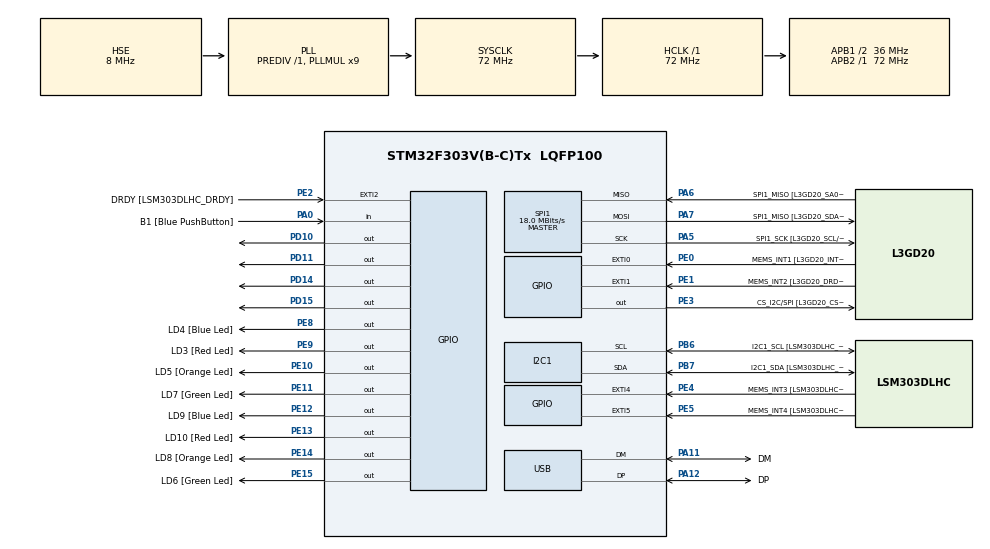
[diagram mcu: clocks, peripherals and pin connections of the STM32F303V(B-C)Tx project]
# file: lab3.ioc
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I2C1.Timing-I2C=0x2000090E
Mcu.Family=STM32F3
Mcu.Name=STM32F303V(B-C)Tx
Mcu.Package=LQFP100
NVIC.PriorityGroup=NVIC_PRIORITYGROUP_0
PA0.GPIO_Label=B1 [Blue PushButton]
PA0.Signal=GPIO_Input
PA11.GPIO_Label=DM
PA11.Mode=Device
PA11.Signal=USB_DM
PA12.GPIO_Label=DP
PA12.Mode=Device
PA12.Signal=USB_DP
PA13.GPIO_Label=SWDIO
PA13.Mode=Serial_Wire
PA13.Signal=SYS_JTMS-SWDIO
PA14.GPIO_Label=SWCLK
PA14.Mode=Serial_Wire
PA14.Signal=SYS_JTCK-SWCLK
PA5.GPIO_Label=SPI1_SCK [L3GD20_SCL/SPC]
PA5.Mode=Full_Duplex_Master
PA5.Signal=SPI1_SCK
PA6.GPIO_Label=SPI1_MISO [L3GD20_SA0/SDO]
PA6.Mode=Full_Duplex_Master
PA6.Signal=SPI1_MISO
PA7.GPIO_Label=SPI1_MISO [L3GD20_SDA/SDI/SDO]
PA7.Mode=Full_Duplex_Master
PA7.Signal=SPI1_MOSI
PB3.GPIO_Label=SWO
PB3.Signal=SYS_JTDO-TRACESWO
PB6.GPIO_Label=I2C1_SCL [LSM303DLHC_SCL]
PB6.GPIO_Pu=GPIO_PULLUP
PB6.Mode=I2C
PB6.Signal=I2C1_SCL
PB7.GPIO_Label=I2C1_SDA [LSM303DLHC_SDA]
PB7.GPIO_Pu=GPIO_PULLUP
PB7.Mode=I2C
PB7.Signal=I2C1_SDA
PC14-OSC32_IN.GPIO_Label=OSC32_IN
PC14-OSC32_IN.Signal=RCC_OSC32_IN
PC15-OSC32_OUT.GPIO_Label=OSC32_OUT
PC15-OSC32_OUT.Signal=RCC_OSC32_OUT
PD10.Signal=GPIO_Output
PD11.Signal=GPIO_Output
PD14.Signal=GPIO_Output
PD15.Signal=GPIO_Output
PE0.GPIO_Label=MEMS_INT1 [L3GD20_INT1]
PE0.GPIO_ModeDefaultEXTI=GPIO_MODE_EVT_RISING
PE0.Signal=GPXTI0
PE1.GPIO_Label=MEMS_INT2 [L3GD20_DRDY/INT2]
PE1.GPIO_ModeDefaultEXTI=GPIO_MODE_EVT_RISING
PE1.Signal=GPXTI1
PE10.GPIO_Label=LD5 [Orange Led]
PE10.Signal=GPIO_Output
PE11.GPIO_Label=LD7 [Green Led]
PE11.Signal=GPIO_Output
PE12.GPIO_Label=LD9 [Blue Led]
PE12.Signal=GPIO_Output
PE13.GPIO_Label=LD10 [Red Led]
PE13.Signal=GPIO_Output
PE14.GPIO_Label=LD8 [Orange Led]
PE14.Signal=GPIO_Output
PE15.GPIO_Label=LD6 [Green Led]
PE15.Signal=GPIO_Output
PE2.GPIO_Label=DRDY [LSM303DLHC_DRDY]
PE2.GPIO_ModeDefaultEXTI=GPIO_MODE_EVT_RISING
PE2.Signal=GPXTI2
PE3.GPIO_Label=CS_I2C/SPI [L3GD20_CS_I2C/SPI]
PE3.Signal=GPIO_Output
PE4.GPIO_Label=MEMS_INT3 [LSM303DLHC_INT1]
PE4.GPIO_ModeDefaultEXTI=GPIO_MODE_EVT_RISING
PE4.Signal=GPXTI4
PE5.GPIO_Label=MEMS_INT4 [LSM303DLHC_INT2]
PE5.GPIO_ModeDefaultEXTI=GPIO_MODE_EVT_RISING
PE5.Signal=GPXTI5
PE8.GPIO_Label=LD4 [Blue Led]
PE8.Signal=GPIO_Output
PE9.GPIO_Label=LD3 [Red Led]
PE9.Signal=GPIO_Output
PF0-OSC_IN.GPIO_Label=OSC_IN
PF0-OSC_IN.Mode=HSE-External-Oscillator
PF0-OSC_IN.Signal=RCC_OSC_IN
PF1-OSC_OUT.GPIO_Label=OSC_OUT
PF1-OSC_OUT.Mode=HSE-External-Oscillator
PF1-OSC_OUT.Signal=RCC_OSC_OUT
ProjectManager.HeapSize=0x200
ProjectManager.StackSize=0x400
ProjectManager.TargetToolchain=STM32CubeIDE
RCC.AHBFreq_Value=72000000
RCC.APB1CLKDivider=RCC_HCLK_DIV2
RCC.APB1Freq_Value=36000000
RCC.APB1TimFreq_Value=72000000
RCC.APB2Freq_Value=72000000
RCC.APB2TimFreq_Value=72000000
RCC.CortexFreq_Value=72000000
RCC.HCLKFreq_Value=72000000
RCC.HSE_VALUE=8000000
RCC.HSI_VALUE=8000000
RCC.LSE_VALUE=32768
RCC.PLLMUL=RCC_PLL_MUL9
RCC.PRESCALERUSB=RCC_USBCLKSOURCE_PLL_DIV1_5
RCC.SYSCLKFreq_VALUE=72000000
RCC.SYSCLKSourceVirtual=RCC_SYSCLKSOURCE_PLLCLK
RCC.USBFreq_Value=48000000
SPI1.BaudRatePrescaler=SPI_BAUDRATEPRESCALER_4
SPI1.BaudRatePrescaler-Full_Duplex_Master=SPI_BAUDRATEPRESCALER_2
SPI1.CalculateBaudRate=18.0 MBits/s
SPI1.CalculateBaudRate-Full_Duplex_Master=24.0 MBits/s
SPI1.Direction=SPI_DIRECTION_2LINES
SPI1.Mode=SPI_MODE_MASTER
SPI1.Mode-Full_Duplex_Master=SPI_MODE_MASTER
SPI1.VirtualType=VM_MASTER
TIM1.Prescaler=7200
VP_TIM1_VS_ClockSourceINT.Mode=Internal
board=STM32F3DISCOVERY

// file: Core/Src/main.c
/* USER CODE BEGIN Header */
/**
  ******************************************************************************
  * @file           : main.c
  * @brief          : Main program body
  ******************************************************************************
  * @attention
  *
  * Copyright (c) 2022 STMicroelectronics.
  * All rights reserved.
  *
  * This software is licensed under terms that can be found in the LICENSE file
  * in the root directory of this software component.
  * If no LICENSE file comes with this software, it is provided AS-IS.
  *
  ******************************************************************************
  */
/* USER CODE END Header */
#include "main.h"

I2C_HandleTypeDef hi2c1;

SPI_HandleTypeDef hspi1;

TIM_HandleTypeDef htim1;

PCD_HandleTypeDef hpcd_USB_FS;

/* USER CODE BEGIN PV */
int pos = 0;
/* USER CODE END PV */

void SystemClock_Config(void);
static void MX_GPIO_Init(void);
static void MX_I2C1_Init(void);
static void MX_SPI1_Init(void);
static void MX_USB_PCD_Init(void);
static void MX_TIM1_Init(void);
/* USER CODE BEGIN PFP */
void stepperfunc(int pos);
/* USER CODE END PFP */

/* USER CODE BEGIN 0 */
void stepperDelay(uint8_t time){
	uint8_t timer_value = __HAL_TIM_GET_COUNTER(&htim1);
	if (timer_value >= time/256){
		stepperfunc(pos);
		pos++;
		if (pos == 7){
			pos = 0;
		}
	}
}
void stepperfunc(int pos){
	  for (int i=0;i<8;i++){
			  switch (i){
			  	  case 0:
					HAL_GPIO_WritePin(GPIOD, GPIO_PIN_10, GPIO_PIN_SET);
					HAL_GPIO_WritePin(GPIOD, GPIO_PIN_11, GPIO_PIN_RESET);
					HAL_GPIO_WritePin(GPIOD, GPIO_PIN_15, GPIO_PIN_RESET);
					HAL_GPIO_WritePin(GPIOD, GPIO_PIN_14, GPIO_PIN_RESET);
					break;

			  	  case 1:
					HAL_GPIO_WritePin(GPIOD, GPIO_PIN_10, GPIO_PIN_SET);
					HAL_GPIO_WritePin(GPIOD, GPIO_PIN_11, GPIO_PIN_SET);
					HAL_GPIO_WritePin(GPIOD, GPIO_PIN_15, GPIO_PIN_RESET);
					HAL_GPIO_WritePin(GPIOD, GPIO_PIN_14, GPIO_PIN_RESET);
					break;

			  	  case 2:
					HAL_GPIO_WritePin(GPIOD, GPIO_PIN_10, GPIO_PIN_RESET);
					HAL_GPIO_WritePin(GPIOD, GPIO_PIN_11, GPIO_PIN_SET);
					HAL_GPIO_WritePin(GPIOD, GPIO_PIN_15, GPIO_PIN_RESET);
					HAL_GPIO_WritePin(GPIOD, GPIO_PIN_14, GPIO_PIN_RESET);
					break;

			  	  case 3:
					HAL_GPIO_WritePin(GPIOD, GPIO_PIN_10, GPIO_PIN_RESET);
					HAL_GPIO_WritePin(GPIOD, GPIO_PIN_11, GPIO_PIN_SET);
					HAL_GPIO_WritePin(GPIOD, GPIO_PIN_15, GPIO_PIN_SET);
					HAL_GPIO_WritePin(GPIOD, GPIO_PIN_14, GPIO_PIN_RESET);
					break;

			  	  case 4:
					HAL_GPIO_WritePin(GPIOD, GPIO_PIN_10, GPIO_PIN_RESET);
					HAL_GPIO_WritePin(GPIOD, GPIO_PIN_11, GPIO_PIN_RESET);
					HAL_GPIO_WritePin(GPIOD, GPIO_PIN_15, GPIO_PIN_SET);
					HAL_GPIO_WritePin(GPIOD, GPIO_PIN_14, GPIO_PIN_RESET);
					break;

			  	  case 5:
					HAL_GPIO_WritePin(GPIOD, GPIO_PIN_10, GPIO_PIN_RESET);
					HAL_GPIO_WritePin(GPIOD, GPIO_PIN_11, GPIO_PIN_RESET);
					HAL_GPIO_WritePin(GPIOD, GPIO_PIN_15, GPIO_PIN_SET);
					HAL_GPIO_WritePin(GPIOD, GPIO_PIN_14, GPIO_PIN_SET);
					break;

			  	  case 6:
					HAL_GPIO_WritePin(GPIOD, GPIO_PIN_10, GPIO_PIN_RESET);
					HAL_GPIO_WritePin(GPIOD, GPIO_PIN_11, GPIO_PIN_RESET);
					HAL_GPIO_WritePin(GPIOD, GPIO_PIN_15, GPIO_PIN_RESET);
					HAL_GPIO_WritePin(GPIOD, GPIO_PIN_14, GPIO_PIN_SET);
					break;

			  	  case 7:
					HAL_GPIO_WritePin(GPIOD, GPIO_PIN_10, GPIO_PIN_RESET);
					HAL_GPIO_WritePin(GPIOD, GPIO_PIN_11, GPIO_PIN_RESET);
					HAL_GPIO_WritePin(GPIOD, GPIO_PIN_15, GPIO_PIN_RESET);
					HAL_GPIO_WritePin(GPIOD, GPIO_PIN_14, GPIO_PIN_RESET);
					break;

			  };
			  HAL_Delay(5);
			};
}

/* USER CODE END 0 */

int main(void)
{

  /* MCU Configuration--------------------------------------------------------*/

  /* Reset of all peripherals, Initializes the Flash interface and the Systick. */
  HAL_Init();

  /* Configure the system clock */
  SystemClock_Config();

  /* Initialize all configured peripherals */
  MX_GPIO_Init();
  MX_I2C1_Init();
  MX_SPI1_Init();
  MX_USB_PCD_Init();
  MX_TIM1_Init();

  /* Infinite loop */
  /* USER CODE BEGIN WHILE */
  while (1)
  {
	  stepperDelay(255);
		  };
    /* USER CODE END WHILE */

}

void SystemClock_Config(void)
{
  RCC_OscInitTypeDef RCC_OscInitStruct = {0};
  RCC_ClkInitTypeDef RCC_ClkInitStruct = {0};
  RCC_PeriphCLKInitTypeDef PeriphClkInit = {0};

  /** Initializes the RCC Oscillators according to the specified parameters
  * in the RCC_OscInitTypeDef structure.
  */
  RCC_OscInitStruct.OscillatorType = RCC_OSCILLATORTYPE_HSI|RCC_OSCILLATORTYPE_HSE;
  RCC_OscInitStruct.HSEState = RCC_HSE_ON;
  RCC_OscInitStruct.HSEPredivValue = RCC_HSE_PREDIV_DIV1;
  RCC_OscInitStruct.HSIState = RCC_HSI_ON;
  RCC_OscInitStruct.HSICalibrationValue = RCC_HSICALIBRATION_DEFAULT;
  RCC_OscInitStruct.PLL.PLLState = RCC_PLL_ON;
  RCC_OscInitStruct.PLL.PLLSource = RCC_PLLSOURCE_HSE;
  RCC_OscInitStruct.PLL.PLLMUL = RCC_PLL_MUL9;
  if (HAL_RCC_OscConfig(&RCC_OscInitStruct) != HAL_OK)
  {
    Error_Handler();
  }
  /** Initializes the CPU, AHB and APB buses clocks
  */
  RCC_ClkInitStruct.ClockType = RCC_CLOCKTYPE_HCLK|RCC_CLOCKTYPE_SYSCLK
                              |RCC_CLOCKTYPE_PCLK1|RCC_CLOCKTYPE_PCLK2;
  RCC_ClkInitStruct.SYSCLKSource = RCC_SYSCLKSOURCE_PLLCLK;
  RCC_ClkInitStruct.AHBCLKDivider = RCC_SYSCLK_DIV1;
  RCC_ClkInitStruct.APB1CLKDivider = RCC_HCLK_DIV2;
  RCC_ClkInitStruct.APB2CLKDivider = RCC_HCLK_DIV1;

  if (HAL_RCC_ClockConfig(&RCC_ClkInitStruct, FLASH_LATENCY_2) != HAL_OK)
  {
    Error_Handler();
  }
  PeriphClkInit.PeriphClockSelection = RCC_PERIPHCLK_USB|RCC_PERIPHCLK_I2C1
                              |RCC_PERIPHCLK_TIM1;
  PeriphClkInit.I2c1ClockSelection = RCC_I2C1CLKSOURCE_HSI;
  PeriphClkInit.USBClockSelection = RCC_USBCLKSOURCE_PLL_DIV1_5;
  PeriphClkInit.Tim1ClockSelection = RCC_TIM1CLK_HCLK;
  if (HAL_RCCEx_PeriphCLKConfig(&PeriphClkInit) != HAL_OK)
  {
    Error_Handler();
  }
}

static void MX_I2C1_Init(void)
{

  hi2c1.Instance = I2C1;
  hi2c1.Init.Timing = 0x2000090E;
  hi2c1.Init.OwnAddress1 = 0;
  hi2c1.Init.AddressingMode = I2C_ADDRESSINGMODE_7BIT;
  hi2c1.Init.DualAddressMode = I2C_DUALADDRESS_DISABLE;
  hi2c1.Init.OwnAddress2 = 0;
  hi2c1.Init.OwnAddress2Masks = I2C_OA2_NOMASK;
  hi2c1.Init.GeneralCallMode = I2C_GENERALCALL_DISABLE;
  hi2c1.Init.NoStretchMode = I2C_NOSTRETCH_DISABLE;
  if (HAL_I2C_Init(&hi2c1) != HAL_OK)
  {
    Error_Handler();
  }
  /** Configure Analogue filter
  */
  if (HAL_I2CEx_ConfigAnalogFilter(&hi2c1, I2C_ANALOGFILTER_ENABLE) != HAL_OK)
  {
    Error_Handler();
  }
  /** Configure Digital filter
  */
  if (HAL_I2CEx_ConfigDigitalFilter(&hi2c1, 0) != HAL_OK)
  {
    Error_Handler();
  }

}

static void MX_SPI1_Init(void)
{

  /* SPI1 parameter configuration*/
  hspi1.Instance = SPI1;
  hspi1.Init.Mode = SPI_MODE_MASTER;
  hspi1.Init.Direction = SPI_DIRECTION_2LINES;
  hspi1.Init.DataSize = SPI_DATASIZE_4BIT;
  hspi1.Init.CLKPolarity = SPI_POLARITY_LOW;
  hspi1.Init.CLKPhase = SPI_PHASE_1EDGE;
  hspi1.Init.NSS = SPI_NSS_SOFT;
  hspi1.Init.BaudRatePrescaler = SPI_BAUDRATEPRESCALER_4;
  hspi1.Init.FirstBit = SPI_FIRSTBIT_MSB;
  hspi1.Init.TIMode = SPI_TIMODE_DISABLE;
  hspi1.Init.CRCCalculation = SPI_CRCCALCULATION_DISABLE;
  hspi1.Init.CRCPolynomial = 7;
  hspi1.Init.CRCLength = SPI_CRC_LENGTH_DATASIZE;
  hspi1.Init.NSSPMode = SPI_NSS_PULSE_ENABLE;
  if (HAL_SPI_Init(&hspi1) != HAL_OK)
  {
    Error_Handler();
  }

}

static void MX_TIM1_Init(void)
{

  TIM_ClockConfigTypeDef sClockSourceConfig = {0};
  TIM_MasterConfigTypeDef sMasterConfig = {0};

  htim1.Instance = TIM1;
  htim1.Init.Prescaler = 7200;
  htim1.Init.CounterMode = TIM_COUNTERMODE_UP;
  htim1.Init.Period = 65535;
  htim1.Init.ClockDivision = TIM_CLOCKDIVISION_DIV1;
  htim1.Init.RepetitionCounter = 0;
  htim1.Init.AutoReloadPreload = TIM_AUTORELOAD_PRELOAD_DISABLE;
  if (HAL_TIM_Base_Init(&htim1) != HAL_OK)
  {
    Error_Handler();
  }
  sClockSourceConfig.ClockSource = TIM_CLOCKSOURCE_INTERNAL;
  if (HAL_TIM_ConfigClockSource(&htim1, &sClockSourceConfig) != HAL_OK)
  {
    Error_Handler();
  }
  sMasterConfig.MasterOutputTrigger = TIM_TRGO_RESET;
  sMasterConfig.MasterOutputTrigger2 = TIM_TRGO2_RESET;
  sMasterConfig.MasterSlaveMode = TIM_MASTERSLAVEMODE_DISABLE;
  if (HAL_TIMEx_MasterConfigSynchronization(&htim1, &sMasterConfig) != HAL_OK)
  {
    Error_Handler();
  }

}

static void MX_USB_PCD_Init(void)
{

  hpcd_USB_FS.Instance = USB;
  hpcd_USB_FS.Init.dev_endpoints = 8;
  hpcd_USB_FS.Init.speed = PCD_SPEED_FULL;
  hpcd_USB_FS.Init.phy_itface = PCD_PHY_EMBEDDED;
  hpcd_USB_FS.Init.low_power_enable = DISABLE;
  hpcd_USB_FS.Init.battery_charging_enable = DISABLE;
  if (HAL_PCD_Init(&hpcd_USB_FS) != HAL_OK)
  {
    Error_Handler();
  }

}

static void MX_GPIO_Init(void)
{
  GPIO_InitTypeDef GPIO_InitStruct = {0};

  /* GPIO Ports Clock Enable */
  __HAL_RCC_GPIOE_CLK_ENABLE();
  __HAL_RCC_GPIOC_CLK_ENABLE();
  __HAL_RCC_GPIOF_CLK_ENABLE();
  __HAL_RCC_GPIOA_CLK_ENABLE();
  __HAL_RCC_GPIOD_CLK_ENABLE();
  __HAL_RCC_GPIOB_CLK_ENABLE();

  /*Configure GPIO pin Output Level */
  HAL_GPIO_WritePin(GPIOE, CS_I2C_SPI_Pin|LD4_Pin|LD3_Pin|LD5_Pin
                          |LD7_Pin|LD9_Pin|LD10_Pin|LD8_Pin
                          |LD6_Pin, GPIO_PIN_RESET);

  /*Configure GPIO pin Output Level */
  HAL_GPIO_WritePin(GPIOD, GPIO_PIN_10|GPIO_PIN_11|GPIO_PIN_14|GPIO_PIN_15, GPIO_PIN_RESET);

  /*Configure GPIO pins : DRDY_Pin MEMS_INT3_Pin MEMS_INT4_Pin MEMS_INT1_Pin
                           MEMS_INT2_Pin */
  GPIO_InitStruct.Pin = DRDY_Pin|MEMS_INT3_Pin|MEMS_INT4_Pin|MEMS_INT1_Pin
                          |MEMS_INT2_Pin;
  GPIO_InitStruct.Mode = GPIO_MODE_EVT_RISING;
  GPIO_InitStruct.Pull = GPIO_NOPULL;
  HAL_GPIO_Init(GPIOE, &GPIO_InitStruct);

  /*Configure GPIO pins : CS_I2C_SPI_Pin LD4_Pin LD3_Pin LD5_Pin
                           LD7_Pin LD9_Pin LD10_Pin LD8_Pin
                           LD6_Pin */
  GPIO_InitStruct.Pin = CS_I2C_SPI_Pin|LD4_Pin|LD3_Pin|LD5_Pin
                          |LD7_Pin|LD9_Pin|LD10_Pin|LD8_Pin
                          |LD6_Pin;
  GPIO_InitStruct.Mode = GPIO_MODE_OUTPUT_PP;
  GPIO_InitStruct.Pull = GPIO_NOPULL;
  GPIO_InitStruct.Speed = GPIO_SPEED_FREQ_LOW;
  HAL_GPIO_Init(GPIOE, &GPIO_InitStruct);

  /*Configure GPIO pin : B1_Pin */
  GPIO_InitStruct.Pin = B1_Pin;
  GPIO_InitStruct.Mode = GPIO_MODE_INPUT;
  GPIO_InitStruct.Pull = GPIO_NOPULL;
  HAL_GPIO_Init(B1_GPIO_Port, &GPIO_InitStruct);

  /*Configure GPIO pins : PD10 PD11 PD14 PD15 */
  GPIO_InitStruct.Pin = GPIO_PIN_10|GPIO_PIN_11|GPIO_PIN_14|GPIO_PIN_15;
  GPIO_InitStruct.Mode = GPIO_MODE_OUTPUT_PP;
  GPIO_InitStruct.Pull = GPIO_NOPULL;
  GPIO_InitStruct.Speed = GPIO_SPEED_FREQ_LOW;
  HAL_GPIO_Init(GPIOD, &GPIO_InitStruct);

}

void Error_Handler(void)
{
  __disable_irq();
  while (1)
  {
  }
}
